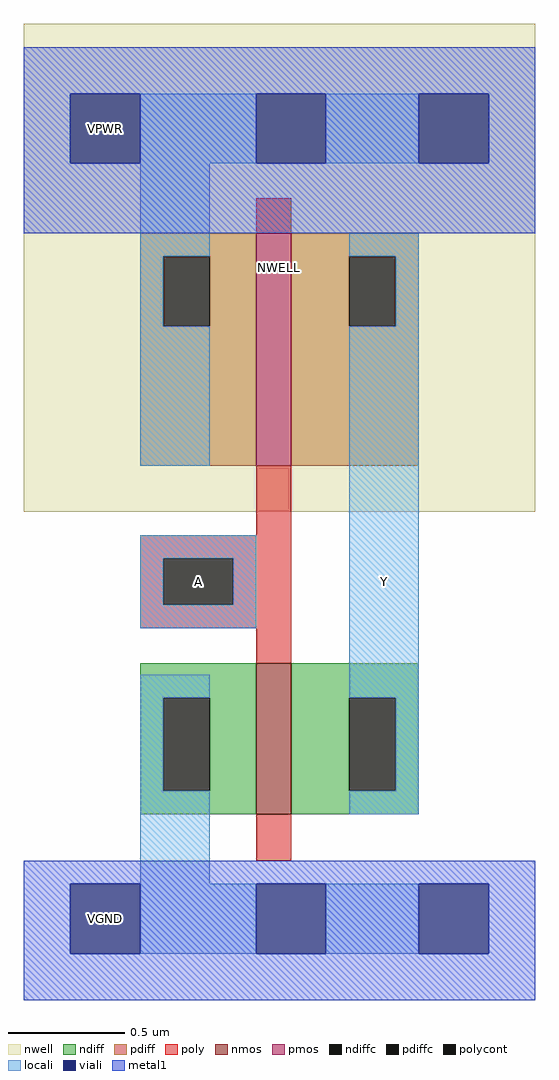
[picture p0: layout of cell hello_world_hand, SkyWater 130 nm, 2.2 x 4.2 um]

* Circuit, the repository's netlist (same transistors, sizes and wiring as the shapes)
* NGSPICE file created from hello_world_hand.ext - technology: sky130A

.subckt hello_world_hand
X0 Y A VGND VSUBS sky130_fd_pr__nfet_01v8 ad=3.575e+11p pd=2.4e+06u as=3.25e+11p ps=2.3e+06u w=650000u l=150000u
X1 Y A VPWR NWELL sky130_fd_pr__pfet_01v8 ad=5.5e+11p pd=3.1e+06u as=5e+11p ps=3e+06u w=1e+06u l=150000u
.ends

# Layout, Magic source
magic
tech sky130A
<< nwell >>
rect -100 -20 120 190
<< nmos >>
rect 0 -150 15 -85
<< pmos >>
rect 0 0 15 100
<< ndiff >>
rect -50 -100 0 -85
rect -50 -140 -40 -100
rect -20 -140 0 -100
rect -50 -150 0 -140
rect 15 -100 70 -85
rect 15 -140 40 -100
rect 60 -140 70 -100
rect 15 -150 70 -140
<< pdiff >>
rect -50 90 0 100
rect -50 60 -40 90
rect -20 60 0 90
rect -50 0 0 60
rect 15 90 70 100
rect 15 60 40 90
rect 60 60 70 90
rect 15 0 70 60
<< ndiffc >>
rect -40 -140 -20 -100
rect 40 -140 60 -100
<< pdiffc >>
rect -40 60 -20 90
rect 40 60 60 90
<< poly >>
rect 0 100 15 115
rect 0 -30 15 0
rect -50 -40 15 -30
rect -50 -60 -40 -40
rect -10 -60 15 -40
rect -50 -70 15 -60
rect 0 -85 15 -70
rect 0 -170 15 -150
<< polycont >>
rect -40 -60 -10 -40
<< locali >>
rect -50 130 0 160
rect 30 130 70 160
rect -50 90 -20 130
rect -50 60 -40 90
rect -50 0 -20 60
rect 40 90 70 100
rect 60 60 70 90
rect -50 -40 0 -30
rect -50 -60 -40 -40
rect -10 -60 0 -40
rect -50 -70 0 -60
rect -50 -100 -20 -90
rect -50 -140 -40 -100
rect -50 -180 -20 -140
rect 40 -100 70 60
rect 60 -140 70 -100
rect 40 -150 70 -140
rect -50 -210 0 -180
rect 30 -210 70 -180
<< viali >>
rect -80 130 -50 160
rect 0 130 30 160
rect 70 130 100 160
rect -80 -210 -50 -180
rect 0 -210 30 -180
rect 70 -210 100 -180
<< metal1 >>
rect -100 160 120 180
rect -100 130 -80 160
rect -50 130 0 160
rect 30 130 70 160
rect 100 130 120 160
rect -100 100 120 130
rect -100 -180 120 -170
rect -100 -210 -80 -180
rect -50 -210 0 -180
rect 30 -210 70 -180
rect 100 -210 120 -180
rect -100 -230 120 -210
<< labels >>
rlabel viali -80 130 -50 160 1 VPWR
rlabel nwell -100 -20 120 190 1 NWELL
rlabel polycont -40 -60 -10 -40 1 A
rlabel locali 40 -60 70 -40 1 Y
rlabel viali -80 -210 -50 -180 1 VGND
<< end >>
